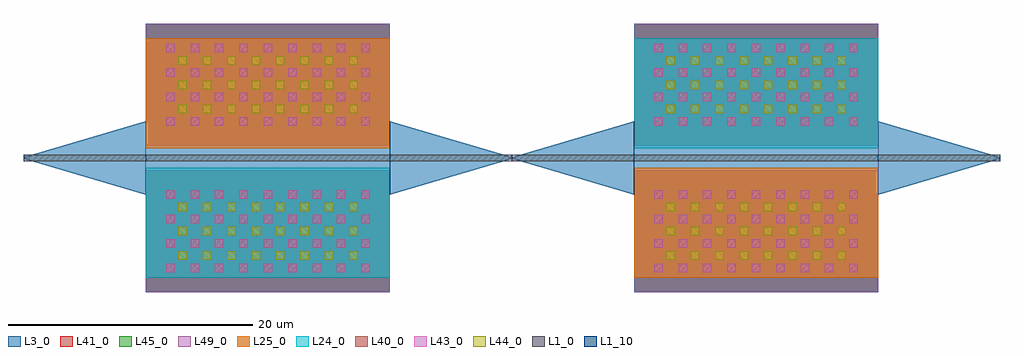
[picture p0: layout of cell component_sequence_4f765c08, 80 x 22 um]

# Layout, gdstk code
from math import pi, radians
import gdstk
lib = gdstk.Library(unit=1e-6, precision=1e-09)
def R(c, l, rs):  # rectangles x0, y0, x1, y1
    for r in rs: c.add(gdstk.rectangle(r[:2], r[2:], *l))
def P(c, l, *ps):  # polygons
    for p in ps: c.add(gdstk.Polygon(p, *l))
L1_0 = (1, 0)
L1_10 = (1, 10)
L3_0 = (3, 0)
L24_0 = (24, 0)
L25_0 = (25, 0)
L40_0 = (40, 0)
L41_0 = (41, 0)
L43_0 = (43, 0)
L44_0 = (44, 0)
L45_0 = (45, 0)
L49_0 = (49, 0)

straight_6983215d = lib.new_cell('straight_6983215d')
R(straight_6983215d, L1_0, [(0,-0.25,20,0.25)])
R(straight_6983215d, L1_10, [(0,-0.25,0.001,0.25), (19.999,-0.25,20,0.25)])
R(straight_6983215d, L3_0, [(0,-10,20,10)])
R(straight_6983215d, L24_0, [(0,0.8,20,9.8)])
R(straight_6983215d, L25_0, [(0,-9.8,20,-0.8)])

taper_strip_to_ridge = lib.new_cell('taper_strip_to_ridge')
R(taper_strip_to_ridge, L1_0, [(0,-0.25,10,0.25)])
R(taper_strip_to_ridge, L1_10, [(9.999,-3,10,3), (9.999,-3,10,3), (0,-0.25,0.001,0.25), (0,-0.25,0.001,0.25), (9.999,-0.25,10,0.25), (0,-0.075,0.001,0.075)])
P(taper_strip_to_ridge, L3_0, [(0,0.075),(10,3),(10,-3),(0,-0.075)])

compass_b2148793 = lib.new_cell('compass_b2148793')
R(compass_b2148793, L3_0, [(-10,-5,10,5)])

compass_layerm1_size20p0 = lib.new_cell('compass_layerM1_size20p0__10p0')
R(compass_layerm1_size20p0, L41_0, [(-10,-5,10,5)])

compass_layerm2_size20p0 = lib.new_cell('compass_layerM2_size20p0__10p0')
R(compass_layerm2_size20p0, L45_0, [(-10,-5,10,5)])

compass_d92fe7fa = lib.new_cell('compass_d92fe7fa')
R(compass_d92fe7fa, L49_0, [(-10,-5,10,5)])

via = lib.new_cell('via')
R(via, L40_0, [(-0.35,-0.35,0.35,0.35)])

via_enclosure2_layervia1 = lib.new_cell('via_enclosure2_layerVIA1')
R(via_enclosure2_layervia1, L44_0, [(-0.35,-0.35,0.35,0.35)])

via_layervia2 = lib.new_cell('via_layerVIA2')
R(via_layervia2, L43_0, [(-0.35,-0.35,0.35,0.35)])

via_stack_8514ccfe = lib.new_cell('via_stack_8514ccfe')
via_stack_8514ccfe.add(gdstk.Reference(compass_b2148793, (0,0)))
via_stack_8514ccfe.add(gdstk.Reference(compass_layerm1_size20p0, (0,0)))
via_stack_8514ccfe.add(gdstk.Reference(compass_layerm2_size20p0, (0,0)))
via_stack_8514ccfe.add(gdstk.Reference(compass_d92fe7fa, (0,0)))
r = gdstk.Reference(via, (-8,-3)); r.repetition = gdstk.Repetition(9, 4, v1=(2,0), v2=(0,2)); via_stack_8514ccfe.add(r)
r = gdstk.Reference(via_enclosure2_layervia1, (-7,-2)); r.repetition = gdstk.Repetition(8, 3, v1=(2,0), v2=(0,2)); via_stack_8514ccfe.add(r)
r = gdstk.Reference(via_layervia2, (-8,-3)); r.repetition = gdstk.Repetition(9, 4, v1=(2,0), v2=(0,2)); via_stack_8514ccfe.add(r)

straight_pin_length40 = lib.new_cell('straight_pin_length40')
straight_pin_length40.add(gdstk.Reference(straight_6983215d, (0,0)))
straight_pin_length40.add(gdstk.Reference(taper_strip_to_ridge, (-10,0)))
straight_pin_length40.add(gdstk.Reference(taper_strip_to_ridge, (30,0), rotation=pi))
straight_pin_length40.add(gdstk.Reference(via_stack_8514ccfe, (10,6)))
straight_pin_length40.add(gdstk.Reference(via_stack_8514ccfe, (10,-6)))

component_sequence_4f765 = lib.new_cell('component_sequence_4f765c08')
component_sequence_4f765.add(gdstk.Reference(straight_pin_length40, (0,0), x_reflection=True))
component_sequence_4f765.add(gdstk.Reference(straight_pin_length40, (40,0)))

lib.write_gds('component_sequence_4f765c08.gds')
